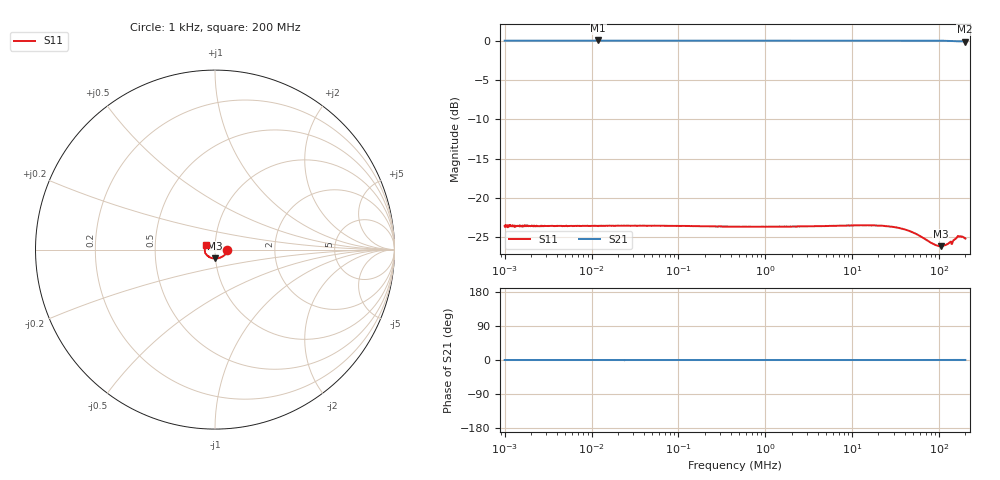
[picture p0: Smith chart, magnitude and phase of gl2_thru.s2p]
! ListType=Log
# MHZ S RI R 50
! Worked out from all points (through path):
!   1000 points, 1 kHz to 200 MHz, reference 50 ohm
!   highest |S21| = 0.03 dB at 11.95 kHz (marker M1); lowest = -0.1 dB at 197.6 MHz (marker M2)
!   lowest |S11| = -26.1 dB at 104.7 MHz (marker M3), VSWR 1.10, Z = 49.6 - j4.91 ohm
!   |S11| at or under -10 dB: start of sweep to end of sweep
!   S12 and S22 are empty: the file has one direction only
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0.001  0.0665 -7.38e-05  1 0.00055  0 0  0 0
0.0076941  0.0664 1.98e-05  1 0.000434  0 0  0 0
0.011945  0.0663 -0.000671  1.003 -0.00722  0 0  0 0
0.0584804  0.0667 -0.000254  1 3.31e-05  0 0  0 0
0.4499541  0.0659 -0.000506  1 -3.99e-05  0 0  0 0
3.419952  0.0662 -0.00142  1 -0.000107  0 0  0 0
14.81769  0.0666 -0.00851  1 8.64e-05  0 0  0 0
26.31347  0.0639 -0.0167  1 0.000108  0 0  0 0
35.71384  0.0599 -0.0232  1.001 0.000105  0 0  0 0
45.59984  0.0541 -0.0297  1.001 -5.29e-05  0 0  0 0
64.20084  0.0394 -0.04  1.001 -0.000688  0 0  0 0
87.1363  0.0169 -0.048  1.001 -0.00197  0 0  0 0
96.08372  0.00729 -0.0492  1 -0.00241  0 0  0 0
104.6632  -0.00196 -0.0494  0.9991 -0.00273  0 0  0 0
115.4104  -0.0133 -0.0483  0.998 -0.00286  0 0  0 0
133.6352  -0.0315 -0.0419  0.9958 -0.00284  0 0  0 0
147.3573  -0.0421 -0.034  0.9937 -0.00236  0 0  0 0
151.0025  -0.045 -0.0312  0.9931 -0.00222  0 0  0 0
158.5658  -0.05 -0.0249  0.9917 -0.00166  0 0  0 0
170.6269  -0.0559 -0.0112  0.9911 -0.000467  0 0  0 0
197.5712  -0.0501 0.0244  0.9871 0.00394  0 0  0 0
200  -0.0481 0.0271  0.9874 0.00301  0 0  0 0
